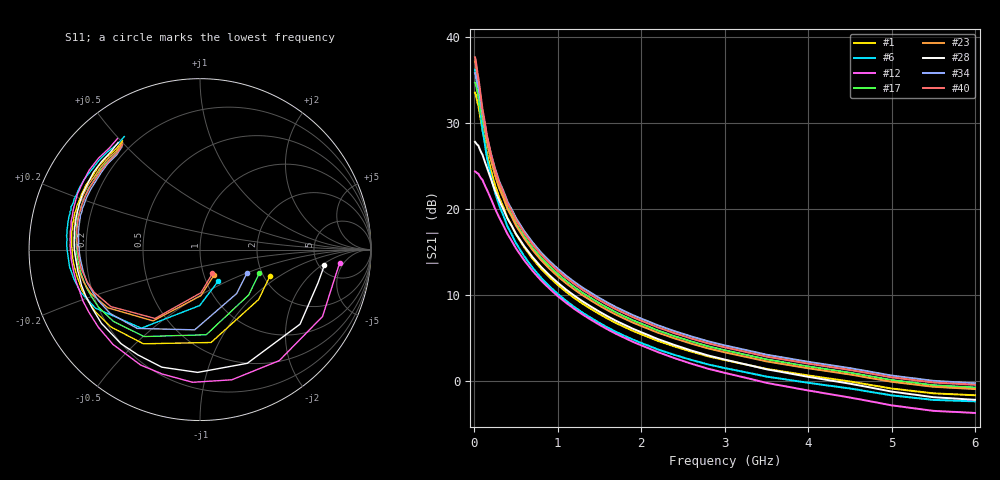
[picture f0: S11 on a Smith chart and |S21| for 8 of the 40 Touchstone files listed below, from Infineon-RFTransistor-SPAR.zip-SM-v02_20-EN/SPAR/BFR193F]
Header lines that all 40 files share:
! Infineon Technologies  Discrete & RF Semiconductors
! BFR193F
! Common Emitter S-Parameters:  Jan 2017
# GHz  S  MA  R  50
!  f  S11  S21  S12  S22
! GHz  MAG  ANG  MAG  ANG  MAG  ANG  MAG  ANG
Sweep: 10 MHz to 6 GHz
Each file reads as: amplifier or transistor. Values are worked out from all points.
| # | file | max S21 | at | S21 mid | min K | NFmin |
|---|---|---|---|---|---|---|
| 1 | BFR193F_w_noise_VCE_1.0V_IC_20mA.s2p | 33.5 dB | 10 MHz | 4.7 dB at 2.2 GHz | 0.08 | 1.04 dB |
| 2 | BFR193F_w_noise_VCE_1.0V_IC_25mA.s2p | 34.6 dB | 10 MHz | 4.7 dB at 2.2 GHz | 0.14 | 1.11 dB |
| 3 | BFR193F_w_noise_VCE_1.0V_IC_30mA.s2p | 35.4 dB | 10 MHz | 4.5 dB at 2.2 GHz | 0.15 | 1.18 dB |
| 4 | BFR193F_w_noise_VCE_1.0V_IC_32mA.s2p | 35.6 dB | 10 MHz | 4.4 dB at 2.2 GHz | 0.17 | 1.21 dB |
| 5 | BFR193F_w_noise_VCE_1.0V_IC_35mA.s2p | 35.9 dB | 10 MHz | 4.2 dB at 2.2 GHz | 0.18 | 1.26 dB |
| 6 | BFR193F_w_noise_VCE_1.0V_IC_40mA.s2p | 36.2 dB | 10 MHz | 3.7 dB at 2.2 GHz | 0.23 | 1.34 dB |
| 7 | BFR193F_w_noise_VCE_1.0V_IC_45mA.s2p | 36.3 dB | 10 MHz | 2.9 dB at 2.2 GHz | 0.29 | 1.41 dB |
| 8 | BFR193F_w_noise_VCE_1.0V_IC_48mA.s2p | 36.3 dB | 10 MHz | 2.4 dB at 2.2 GHz | 0.33 | 1.45 dB |
| 9 | BFR193F_w_noise_VCE_1.0V_IC_50mA.s2p | 36.3 dB | 10 MHz | 2.0 dB at 2.2 GHz | 0.34 | 1.48 dB |
| 10 | BFR193F_w_noise_VCE_1.0V_IC_55mA.s2p | 36.1 dB | 10 MHz | 1.0 dB at 2.2 GHz | 0.39 | 1.56 dB |
| 11 | BFR193F_w_noise_VCE_1.0V_IC_60mA.s2p | 35.9 dB | 10 MHz | 0.1 dB at 2.2 GHz | 0.43 | 1.64 dB |
| 12 | BFR193F_w_noise_VCE_2.0V_IC_5.0mA.s2p | 24.4 dB | 10 MHz | 3.4 dB at 2.2 GHz | 0.00 | 0.81 dB |
| 13 | BFR193F_w_noise_VCE_2.0V_IC_8.0mA.s2p | 27.8 dB | 10 MHz | 4.5 dB at 2.2 GHz | 0.03 | 0.84 dB |
| 14 | BFR193F_w_noise_VCE_2.0V_IC_10mA.s2p | 29.4 dB | 10 MHz | 4.9 dB at 2.2 GHz | 0.01 | 0.87 dB |
| 15 | BFR193F_w_noise_VCE_2.0V_IC_16mA.s2p | 32.3 dB | 10 MHz | 5.6 dB at 2.2 GHz | 0.09 | 0.97 dB |
| 16 | BFR193F_w_noise_VCE_2.0V_IC_20mA.s2p | 33.5 dB | 10 MHz | 5.8 dB at 2.2 GHz | 0.09 | 1.04 dB |
| 17 | BFR193F_w_noise_VCE_2.0V_IC_25mA.s2p | 34.7 dB | 10 MHz | 5.9 dB at 2.2 GHz | 0.12 | 1.11 dB |
| 18 | BFR193F_w_noise_VCE_2.0V_IC_30mA.s2p | 35.5 dB | 10 MHz | 6.0 dB at 2.2 GHz | 0.12 | 1.18 dB |
| 19 | BFR193F_w_noise_VCE_2.0V_IC_32mA.s2p | 35.8 dB | 10 MHz | 6.0 dB at 2.2 GHz | 0.16 | 1.21 dB |
| 20 | BFR193F_w_noise_VCE_2.0V_IC_35mA.s2p | 36.1 dB | 10 MHz | 6.0 dB at 2.2 GHz | 0.15 | 1.26 dB |
| 21 | BFR193F_w_noise_VCE_2.0V_IC_40mA.s2p | 36.6 dB | 10 MHz | 5.9 dB at 2.2 GHz | 0.16 | 1.34 dB |
| 22 | BFR193F_w_noise_VCE_2.0V_IC_45mA.s2p | 37.0 dB | 10 MHz | 5.8 dB at 2.2 GHz | 0.18 | 1.41 dB |
| 23 | BFR193F_w_noise_VCE_2.0V_IC_48mA.s2p | 37.1 dB | 10 MHz | 5.6 dB at 2.2 GHz | 0.20 | 1.45 dB |
| 24 | BFR193F_w_noise_VCE_2.0V_IC_50mA.s2p | 37.2 dB | 10 MHz | 5.6 dB at 2.2 GHz | 0.21 | 1.48 dB |
| 25 | BFR193F_w_noise_VCE_2.0V_IC_55mA.s2p | 37.4 dB | 10 MHz | 5.3 dB at 2.2 GHz | 0.25 | 1.56 dB |
| 26 | BFR193F_w_noise_VCE_2.0V_IC_60mA.s2p | 37.5 dB | 10 MHz | 4.9 dB at 2.2 GHz | 0.30 | 1.64 dB |
| 27 | BFR193F_w_noise_VCE_3.0V_IC_5.0mA.s2p | 24.3 dB | 10 MHz | 3.7 dB at 2.2 GHz | 0.02 | 0.81 dB |
| 28 | BFR193F_w_noise_VCE_3.0V_IC_8.0mA.s2p | 27.8 dB | 10 MHz | 4.9 dB at 2.2 GHz | 0.02 | 0.84 dB |
| 29 | BFR193F_w_noise_VCE_3.0V_IC_10mA.s2p | 29.3 dB | 10 MHz | 5.3 dB at 2.2 GHz | 0.04 | 0.87 dB |
| 30 | BFR193F_w_noise_VCE_3.0V_IC_16mA.s2p | 32.3 dB | 10 MHz | 6.0 dB at 2.2 GHz | 0.07 | 0.97 dB |
| 31 | BFR193F_w_noise_VCE_3.0V_IC_20mA.s2p | 33.5 dB | 10 MHz | 6.2 dB at 2.2 GHz | 0.09 | 1.04 dB |
| 32 | BFR193F_w_noise_VCE_3.0V_IC_25mA.s2p | 34.7 dB | 10 MHz | 6.4 dB at 2.2 GHz | 0.08 | 1.11 dB |
| 33 | BFR193F_w_noise_VCE_3.0V_IC_30mA.s2p | 35.5 dB | 10 MHz | 6.5 dB at 2.2 GHz | 0.12 | 1.18 dB |
| 34 | BFR193F_w_noise_VCE_3.0V_IC_32mA.s2p | 35.8 dB | 10 MHz | 6.5 dB at 2.2 GHz | 0.13 | 1.21 dB |
| 35 | BFR193F_w_noise_VCE_3.0V_IC_35mA.s2p | 36.2 dB | 10 MHz | 6.5 dB at 2.2 GHz | 0.16 | 1.26 dB |
| 36 | BFR193F_w_noise_VCE_3.0V_IC_40mA.s2p | 36.7 dB | 10 MHz | 6.5 dB at 2.2 GHz | 0.16 | 1.34 dB |
| 37 | BFR193F_w_noise_VCE_3.0V_IC_45mA.s2p | 37.1 dB | 10 MHz | 6.5 dB at 2.2 GHz | 0.18 | 1.41 dB |
| 38 | BFR193F_w_noise_VCE_3.0V_IC_48mA.s2p | 37.3 dB | 10 MHz | 6.4 dB at 2.2 GHz | 0.18 | 1.45 dB |
| 39 | BFR193F_w_noise_VCE_3.0V_IC_50mA.s2p | 37.4 dB | 10 MHz | 6.4 dB at 2.2 GHz | 0.19 | 1.48 dB |
| 40 | BFR193F_w_noise_VCE_3.0V_IC_55mA.s2p | 37.6 dB | 10 MHz | 6.3 dB at 2.2 GHz | 0.20 | 1.56 dB |

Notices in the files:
Hoja de datos/BFP 450/Infineon-RFTransistor-SPAR.zip-SM-v02_20-EN/SPAR/BFR193F/BFR193F_w_noise_VCE_1.0V_IC_20mA.s2p:
(c) 2017  Infineon Technologies AG, Munich
